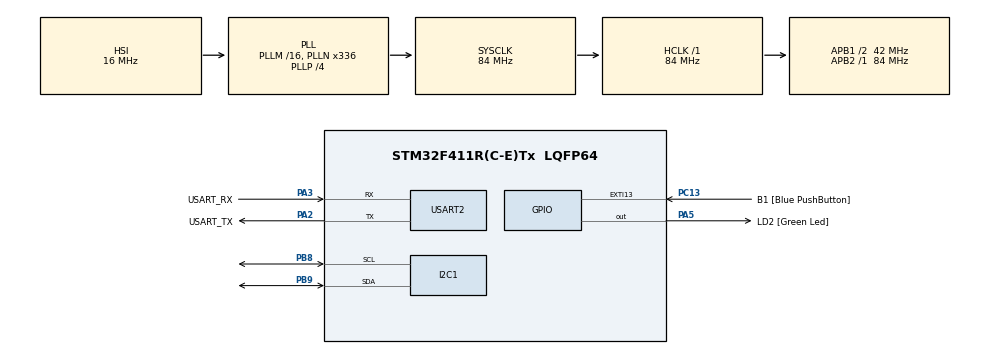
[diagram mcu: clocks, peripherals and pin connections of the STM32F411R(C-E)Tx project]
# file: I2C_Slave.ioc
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I2C1.OwnAddress=0x1D
Mcu.Family=STM32F4
Mcu.Name=STM32F411R(C-E)Tx
Mcu.Package=LQFP64
NVIC.I2C1_ER_IRQn=true\:0\:0\:false\:false\:true\:true\:true\:true
NVIC.I2C1_EV_IRQn=true\:0\:0\:false\:false\:true\:true\:true\:true
NVIC.PriorityGroup=NVIC_PRIORITYGROUP_0
PA13.GPIO_Label=TMS
PA13.Mode=Serial_Wire
PA13.Signal=SYS_JTMS-SWDIO
PA14.GPIO_Label=TCK
PA14.Mode=Serial_Wire
PA14.Signal=SYS_JTCK-SWCLK
PA2.GPIO_Label=USART_TX
PA2.Mode=Asynchronous
PA2.Signal=USART2_TX
PA3.GPIO_Label=USART_RX
PA3.Mode=Asynchronous
PA3.Signal=USART2_RX
PA5.GPIO_Label=LD2 [Green Led]
PA5.Signal=GPIO_Output
PB3.GPIO_Label=SWO
PB3.Signal=SYS_JTDO-SWO
PB8.GPIO_Pu=GPIO_PULLUP
PB8.Mode=I2C
PB8.Signal=I2C1_SCL
PB9.GPIO_Pu=GPIO_PULLUP
PB9.Mode=I2C
PB9.Signal=I2C1_SDA
PC13-ANTI_TAMP.GPIO_Label=B1 [Blue PushButton]
PC13-ANTI_TAMP.GPIO_ModeDefaultEXTI=GPIO_MODE_IT_FALLING
PC13-ANTI_TAMP.Signal=GPXTI13
PC14-OSC32_IN.Mode=LSE-External-Oscillator
PC14-OSC32_IN.Signal=RCC_OSC32_IN
PC15-OSC32_OUT.Mode=LSE-External-Oscillator
PC15-OSC32_OUT.Signal=RCC_OSC32_OUT
PH0\ -\ OSC_IN.Mode=HSE-External-Clock-Source
PH0\ -\ OSC_IN.Signal=RCC_OSC_IN
PH1\ -\ OSC_OUT.Mode=HSE-External-Clock-Source
PH1\ -\ OSC_OUT.Signal=RCC_OSC_OUT
ProjectManager.HeapSize=0x200
ProjectManager.StackSize=0x400
ProjectManager.TargetToolchain=STM32CubeIDE
RCC.48MHZClocksFreq_Value=84000000
RCC.AHBFreq_Value=84000000
RCC.APB1CLKDivider=RCC_HCLK_DIV2
RCC.APB1Freq_Value=42000000
RCC.APB1TimFreq_Value=84000000
RCC.APB2Freq_Value=84000000
RCC.APB2TimFreq_Value=84000000
RCC.CortexFreq_Value=84000000
RCC.FLatency-AdvancedSettings=FLASH_LATENCY_2
RCC.HCLKFreq_Value=84000000
RCC.HSE_VALUE=8000000
RCC.HSI_VALUE=16000000
RCC.PLLN=336
RCC.PLLP=RCC_PLLP_DIV4
RCC.SYSCLKFreq_VALUE=84000000
RCC.SYSCLKSource=RCC_SYSCLKSOURCE_PLLCLK
RCC.VCOOutputFreq_Value=336000000
USART2.VirtualMode=VM_ASYNC
board=NUCLEO-F411RE

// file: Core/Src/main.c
/* USER CODE BEGIN Header */
/**
  ******************************************************************************
  * @file           : main.c
  * @brief          : Main program body
  ******************************************************************************
  * @attention
  *
  * Copyright (c) 2026 STMicroelectronics.
  * All rights reserved.
  *
  * This software is licensed under terms that can be found in the LICENSE file
  * in the root directory of this software component.
  * If no LICENSE file comes with this software, it is provided AS-IS.
  *
  ******************************************************************************
  */
/* USER CODE END Header */
#include "main.h"
#include "i2c.h"
#include "usart.h"
#include "gpio.h"

/* USER CODE BEGIN Includes */
#include <stdio.h>
/* USER CODE END Includes */

/* USER CODE BEGIN PV */
uint8_t RegisterData[10];
uint8_t counter;
/* USER CODE END PV */

void SystemClock_Config(void);
/* USER CODE BEGIN PFP */
#ifdef __GNUC__
#define PUTCHAR_PROTOTYPE int __io_putchar(int ch)
#else
#define PUTCHAR_PROTOTYPE int fputc(int ch, FILE *f)
#endif

PUTCHAR_PROTOTYPE
{
  HAL_UART_Transmit(&huart2, (uint8_t *)&ch, 1, HAL_MAX_DELAY);
  return ch;
}
/* USER CODE END PFP */

/* USER CODE BEGIN 0 */
void HAL_I2C_AddrCallback(I2C_HandleTypeDef *hi2c, uint8_t TransferDirection, uint16_t AddrMatchCode)
{
	if (hi2c->Instance == I2C1)
	{
		if (TransferDirection == I2C_DIRECTION_TRANSMIT)
		{
			HAL_I2C_Slave_Seq_Receive_IT(hi2c, RegisterData, 2, I2C_FIRST_AND_LAST_FRAME);
			printf("counter: %d data: %d\r\n", counter, RegisterData[1]);
		}
		else
		{
			//TODO
		}
	}
}

void HAL_I2C_SlaveRxCpltCallback(I2C_HandleTypeDef *hi2c)
{
	if (hi2c->Instance == I2C1)
	{
		counter++;
	}
}

void HAL_I2C_ListenCpltCallback(I2C_HandleTypeDef *hi2c)
{
	if (hi2c->Instance == I2C1)
	{
		HAL_I2C_EnableListen_IT(hi2c);
	}

}
/* USER CODE END 0 */

int main(void)
{

  /* USER CODE BEGIN 1 */
	// определяем где выполняется программа, и корректируем расположение таблицы векторов
	uint32_t retPCasm(void); // небольшая функция для определения где выполняется программа в FLASH или RAM
	if ((retPCasm() & 0x20000000) != 0)
	{
	    SCB->VTOR = 0x20000000; /* FlagDebugInRAM=1;*/
	}
  /* USER CODE END 1 */

  /* MCU Configuration--------------------------------------------------------*/

  /* Reset of all peripherals, Initializes the Flash interface and the Systick. */
  HAL_Init();

  /* Configure the system clock */
  SystemClock_Config();

  /* Initialize all configured peripherals */
  MX_GPIO_Init();
  MX_I2C1_Init();
  MX_USART2_UART_Init();
  /* USER CODE BEGIN 2 */
  HAL_I2C_EnableListen_IT(&hi2c1);
  /* USER CODE END 2 */

  /* Infinite loop */
  while (1)
  {

  }
}

void SystemClock_Config(void)
{
  RCC_OscInitTypeDef RCC_OscInitStruct = {0};
  RCC_ClkInitTypeDef RCC_ClkInitStruct = {0};

  /** Configure the main internal regulator output voltage
  */
  __HAL_RCC_PWR_CLK_ENABLE();
  __HAL_PWR_VOLTAGESCALING_CONFIG(PWR_REGULATOR_VOLTAGE_SCALE1);

  /** Initializes the RCC Oscillators according to the specified parameters
  * in the RCC_OscInitTypeDef structure.
  */
  RCC_OscInitStruct.OscillatorType = RCC_OSCILLATORTYPE_HSI;
  RCC_OscInitStruct.HSIState = RCC_HSI_ON;
  RCC_OscInitStruct.HSICalibrationValue = RCC_HSICALIBRATION_DEFAULT;
  RCC_OscInitStruct.PLL.PLLState = RCC_PLL_ON;
  RCC_OscInitStruct.PLL.PLLSource = RCC_PLLSOURCE_HSI;
  RCC_OscInitStruct.PLL.PLLM = 16;
  RCC_OscInitStruct.PLL.PLLN = 336;
  RCC_OscInitStruct.PLL.PLLP = RCC_PLLP_DIV4;
  RCC_OscInitStruct.PLL.PLLQ = 4;
  if (HAL_RCC_OscConfig(&RCC_OscInitStruct) != HAL_OK)
  {
    Error_Handler();
  }

  /** Initializes the CPU, AHB and APB buses clocks
  */
  RCC_ClkInitStruct.ClockType = RCC_CLOCKTYPE_HCLK|RCC_CLOCKTYPE_SYSCLK
                              |RCC_CLOCKTYPE_PCLK1|RCC_CLOCKTYPE_PCLK2;
  RCC_ClkInitStruct.SYSCLKSource = RCC_SYSCLKSOURCE_PLLCLK;
  RCC_ClkInitStruct.AHBCLKDivider = RCC_SYSCLK_DIV1;
  RCC_ClkInitStruct.APB1CLKDivider = RCC_HCLK_DIV2;
  RCC_ClkInitStruct.APB2CLKDivider = RCC_HCLK_DIV1;

  if (HAL_RCC_ClockConfig(&RCC_ClkInitStruct, FLASH_LATENCY_2) != HAL_OK)
  {
    Error_Handler();
  }
}

void Error_Handler(void)
{
  __disable_irq();
  while (1)
  {
  }
}
